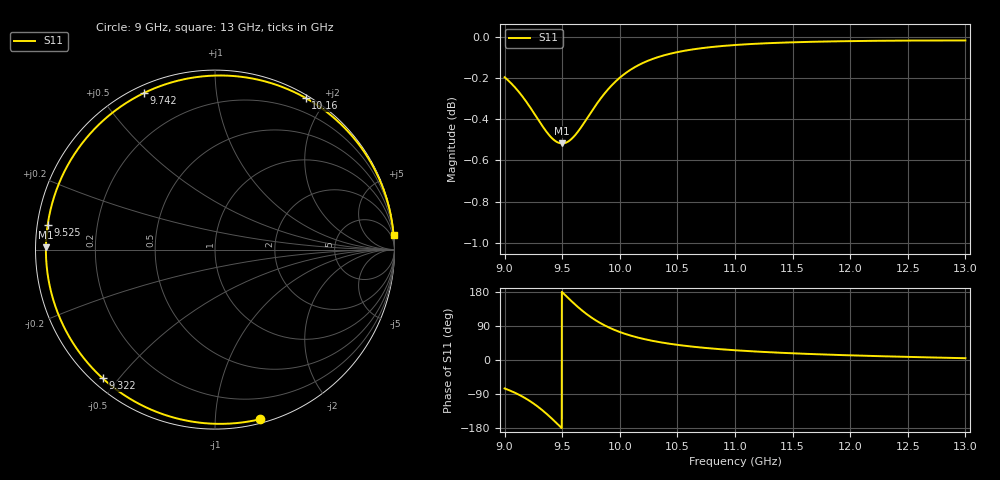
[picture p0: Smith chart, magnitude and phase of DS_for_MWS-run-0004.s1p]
! TOUCHSTONE file generated by CST DESIGN STUDIO
! Date and time: Tue Feb  4 14:06:49 2025
! Project name: C:\Work\MatlabApps\UnitCellOptimizationMatlab\CST\unitcell.cst
! Tree item: Tasks\Sweep1\SPara1\S-Parameters
! Header version: 2024
! Port assignment regex: !\s*Touchstone port\s*([0-9]+)\s*=\s*(CST MWS port|CST DES external port|CST DES block port)\s*(.+)\s* \(\"(.*)\"\)(\s*mode\s*([0-9]+))?.*
! Touchstone port assignment:
! Touchstone port 1 = CST DES external port 1 ("")
# GHz S MA R 50
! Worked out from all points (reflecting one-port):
!   4001 points, 9 GHz to 13 GHz, reference 50 ohm
!   lowest |S11| = -0.5 dB at 9.499 GHz (marker M1), VSWR 33.60, Z = 1.49 + j0.334 ohm
!   phase of S11 starts at -75 deg and turns -280 deg over the sweep
!   S11 on the Smith chart (normalised r, x): 9 GHz: 0.03, -1.30; 9.322 GHz: 0.03, -0.45; 9.525 GHz: 0.03, +0.07; 9.742 GHz: 0.03, +0.64; 10.16 GHz: 0.03, +1.76; 13 GHz: 1, +24
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9  0.9778 -75.1
9.084  0.9726 -85.7
9.185  0.9647 -101.8
9.256  0.9582 -115.8
9.322  0.952 -131.1
9.369  0.9479 -143.3
9.419  0.9445 -157.2
9.46  0.9428 -169.2
9.499  0.9422 179.2
9.5  0.9422 178.9
9.525  0.9424 171.5
9.578  0.9444 156.0
9.638  0.9485 139.4
9.689  0.953 126.6
9.742  0.958 114.6
9.795  0.9629 103.9
9.853  0.9678 93.8
9.926  0.9731 83.0
10  0.9775 73.9
10.158  0.9843 59.1
10.313  0.9884 48.9
10.5  0.9916 40.0
10.722  0.9939 32.4
11  0.9955 25.7
11.5  0.9971 17.7
12  0.9977 12.3
12.5  0.998 8.2
13  0.9981 4.7
